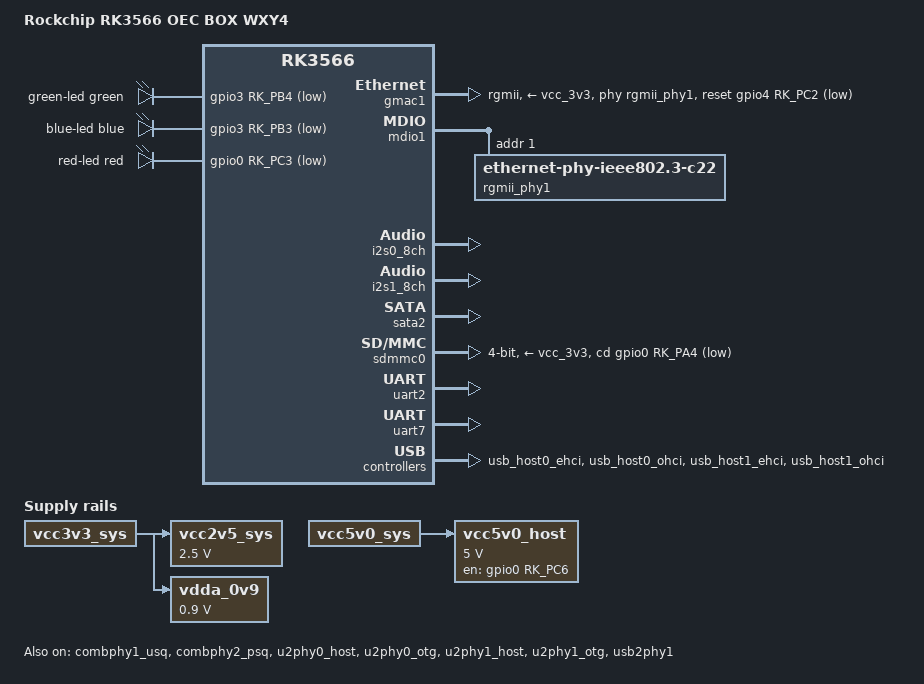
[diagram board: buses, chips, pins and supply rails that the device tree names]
// SPDX-License-Identifier: (GPL-2.0+ OR MIT)
/*
 * RK3566 OEC BOX WXY4 board support.
 *
 * This file intentionally keeps only board-level differences.  The RK3566
 * SoC and DSM/NAS common wiring come from rk3566-dsm-common.dtsi.
 */

#include "rk3566-dsm-common.dtsi"
#include <dt-bindings/leds/common.h>

/ {
	model = "Rockchip RK3566 OEC BOX WXY4";
	compatible = "rockchip,rk3566-oec-box-wxy4", "rockchip,rk3566";

	aliases {
		ethernet1 = &gmac1;
		mmc0 = &sdhci;
		mmc1 = &sdmmc0;
		sata2 = &sata2;
	};

	/delete-node/ display-subsystem;

	gpio-leds {
		status = "okay";
		compatible = "gpio-leds";
		pinctrl-names = "default";
		pinctrl-0 = <&led_pins>;

		green-led {
			color = <LED_COLOR_ID_GREEN>;
			gpios = <&gpio3 RK_PB4 GPIO_ACTIVE_LOW>;
			default-state = "on";
			retain-state-suspended;
		};

		blue-led {
			color = <LED_COLOR_ID_BLUE>;
			gpios = <&gpio3 RK_PB3 GPIO_ACTIVE_LOW>;
			default-state = "off";
			retain-state-suspended;
		};

		red-led {
			color = <LED_COLOR_ID_RED>;
			gpios = <&gpio0 RK_PC3 GPIO_ACTIVE_LOW>;
			default-state = "off";
			retain-state-suspended;
		};
	};

	vcc2v5_sys: vcc2v5-ddr {
		compatible = "regulator-fixed";
		regulator-name = "vcc2v5-sys";
		regulator-always-on;
		regulator-boot-on;
		regulator-min-microvolt = <2500000>;
		regulator-max-microvolt = <2500000>;
		vin-supply = <&vcc3v3_sys>;
	};

	vcc5v0_host: vcc5v0-usb-host-regulator {
		compatible = "regulator-fixed";
		enable-active-high;
		gpio = <&gpio0 RK_PC6 GPIO_ACTIVE_HIGH>;
		pinctrl-names = "default";
		pinctrl-0 = <&vcc5v0_host_en>;
		regulator-name = "vcc5v0_usb_host";
		regulator-always-on;
		regulator-boot-on;
		regulator-min-microvolt = <5000000>;
		regulator-max-microvolt = <5000000>;
		vin-supply = <&vcc5v0_sys>;
	};

	vdda_0v9: vdda-0v9 {
		compatible = "regulator-fixed";
		regulator-name = "vdda_0v9";
		regulator-always-on;
		regulator-boot-on;
		regulator-min-microvolt = <900000>;
		regulator-max-microvolt = <900000>;
		vin-supply = <&vcc3v3_sys>;
	};
};

&combphy1_usq {
	assigned-clocks = <&pmucru CLK_PCIEPHY1_REF>;
	assigned-clock-rates = <100000000>;
	status = "okay";
};

&combphy2_psq {
	rockchip,enable-ssc;
	status = "okay";
};

&cpu1 {
	cpu-supply = <&vdd_cpu>;
};

&cpu2 {
	cpu-supply = <&vdd_cpu>;
};

&cpu3 {
	cpu-supply = <&vdd_cpu>;
};

&gmac1 {
	phy-mode = "rgmii";
	clock_in_out = "input";
	phy-supply = <&vcc_3v3>;

	snps,reset-gpio = <&gpio4 RK_PC2 GPIO_ACTIVE_LOW>;
	snps,reset-active-low;
	snps,reset-delays-us = <0 20000 100000>;

	assigned-clocks = <&cru SCLK_GMAC1_RX_TX>, <&cru SCLK_GMAC1>;
	assigned-clock-parents = <&cru SCLK_GMAC1_RGMII_SPEED>,
				 <&gmac1_clkin>;

	pinctrl-names = "default";
	pinctrl-0 = <&gmac1m1_miim
		     &gmac1m1_tx_bus2
		     &gmac1m1_rx_bus2
		     &gmac1m1_rgmii_clk
		     &gmac1m1_rgmii_bus
		     &gmac1m1_clkinout>;

	tx_delay = <0x4f>;
	rx_delay = <0x2d>;

	phy-handle = <&rgmii_phy1>;
	status = "okay";
};

&mdio1 {
	rgmii_phy1: ethernet-phy@1 {
		compatible = "ethernet-phy-ieee802.3-c22";
		reg = <1>;
		realtek,led-data = <0xc160>;
	};
};

&gpu {
	mali-supply = <&vdd_logic>;
};

&rknpu {
	reg = <0x0 0xfde40000 0x0 0xb000>;
};

&i2s0_8ch {
	status = "okay";
};

&i2s1_8ch {
	rockchip,trcm-sync-tx-only;
	status = "okay";
};

&pcie2x1 {
	status = "disabled";
};

&pmu_io_domains {
	status = "okay";
	pmuio1-supply = <&vcc_3v3>;
	pmuio2-supply = <&vcc_3v3>;
	vccio1-supply = <&vcc_1v8>;
	vccio3-supply = <&vcc_3v3>;
	vccio4-supply = <&vcc_1v8>;
	vccio5-supply = <&vcc_3v3>;
	vccio6-supply = <&vcc_1v8>;
	vccio7-supply = <&vcc_3v3>;
};

&sata2 {
	status = "okay";
};

&sdmmc0 {
	bus-width = <4>;
	cap-sd-highspeed;
	cd-gpios = <&gpio0 RK_PA4 GPIO_ACTIVE_LOW>;
	disable-wp;
	pinctrl-names = "default";
	pinctrl-0 = <&sdmmc0_bus4 &sdmmc0_clk &sdmmc0_cmd &sdmmc0_det>;
	vmmc-supply = <&vcc_3v3>;
	status = "okay";
};

&sdhci {
	mmc-hs400-1_8v;
	mmc-hs400-enhanced-strobe;
};

&spi1 {
	pinctrl-names = "default";
	pinctrl-0 = <&spi1m1_cs0 &spi1m1_pins>;
};

&tsadc {
	rockchip,hw-tshut-mode = <1>;
	rockchip,hw-tshut-polarity = <0>;
};

&uart2 {
	syno,fixed-baudrate = <1500000>;
	status = "okay";
};

&uart5 {
	status = "disabled";
};

&uart7 {
	status = "okay";
};

&u2phy0_host {
	phy-supply = <&vcc5v0_host>;
	status = "okay";
};

&u2phy0_otg {
	phy-supply = <&vcc5v0_host>;
	status = "okay";
};

&u2phy1_host {
	phy-supply = <&vcc5v0_host>;
	status = "okay";
};

&u2phy1_otg {
	phy-supply = <&vcc5v0_host>;
	status = "okay";
};

&usb2phy1 {
	status = "okay";
};

&usb_host0_ehci {
	status = "okay";
};

&usb_host0_ohci {
	status = "okay";
};

&usb_host1_ehci {
	status = "okay";
};

&usb_host1_ohci {
	status = "okay";
};

&pinctrl {
	leds {
		led_pins: led-pins {
			rockchip,pins = <3 RK_PB3 RK_FUNC_GPIO &pcfg_pull_none>,
					<3 RK_PB4 RK_FUNC_GPIO &pcfg_pull_none>,
					<0 RK_PC3 RK_FUNC_GPIO &pcfg_pull_none>;
		};
	};

	sata {
		sata_pm_reset: sata-pm-reset {
			rockchip,pins = <0 RK_PA6 RK_FUNC_GPIO &pcfg_output_high>;
		};
	};

	usb {
		vcc5v0_host_en: vcc5v0-host-en {
			rockchip,pins = <0 RK_PC6 RK_FUNC_GPIO &pcfg_pull_none>;
		};
	};
};
